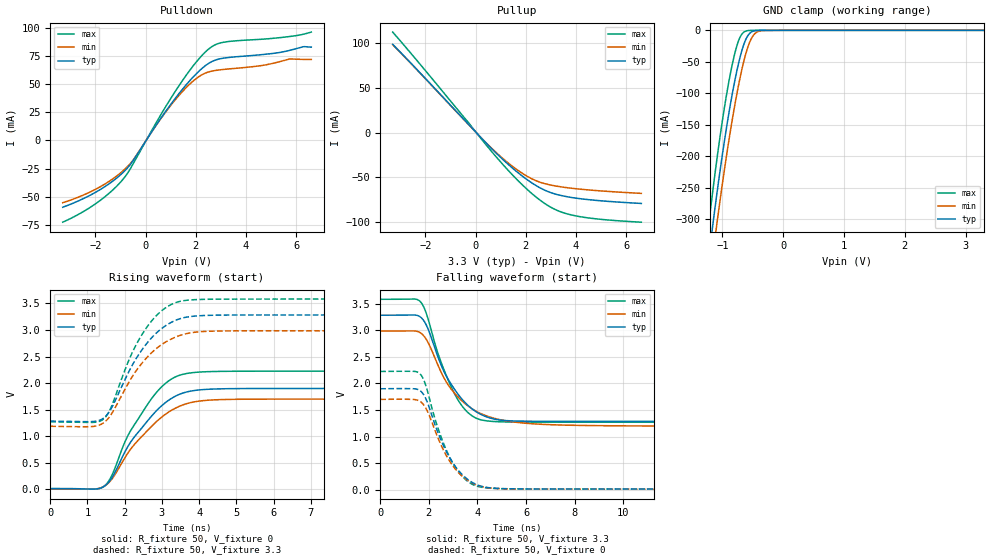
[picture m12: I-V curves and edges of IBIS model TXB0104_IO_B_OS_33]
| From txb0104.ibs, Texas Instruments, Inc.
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[Model]   TXB0104_IO_B_OS_33
Model_type  I/O
Vinl=1.05
Vinh=2.34
Enable   Active-High
Vref =   0
Rref =   1e6
Cref =   15p
Vmeas =   1.65
| variable   typ   min   max
C_comp   13.74pF   11.65pF   15.60pF
| C_pullup   13.91pF   11.07pF   16.69pF
| C_pulldown   14.06pF   12.85pF   15.19pF
| C_tri-state   13.74pF   11.65pF   15.60pF
[Temperature Range]   40   100   -40
| Ambient temperature   25   85   -40
[Voltage range]   3.3   3   3.6
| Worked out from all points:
|   slope of the pulldown table from 0 to 0.495 V, typ, clamps not added: 29.6 ohm
|   slope of the pullup table from 0 to 0.495 V, typ, clamps not added: 33.8 ohm
|   GND clamp passes 1 mA (typ) near -0.48 V on its own axis
|   rising waveform, R_fixture 50, V_fixture 0: 20-80 % time 1.12ns typ, 1.2ns min, 1.04ns max; typ from 0.014 V to 1.9 V
|   falling waveform, R_fixture 50, V_fixture 3.3: 20-80 % time 1.32ns typ, 1.58ns min, 1.12ns max; typ from 3.28 V to 1.29 V
|   rising waveform, R_fixture 50, V_fixture 3.3: 20-80 % time 1.01ns typ, 1.06ns min, 928ps max; typ from 1.29 V to 3.28 V
|   falling waveform, R_fixture 50, V_fixture 0: 20-80 % time 1.14ns typ, 1.12ns min, 1.06ns max; typ from 1.9 V to 0.014 V
[GND Clamp]
| TXB0104_IO_B_OS_33
|   Voltage   I(typ)   I(min)   I(max)
-3.3V     -2.536A    -2.502A    -2.637A
-1.225V   -360.2mA   -408.4mA   -307.5mA
-1.17V    -317.5mA   -365.7mA   -263.7mA
-1.145V   -298.6mA   -346.8mA   -244.5mA
-1.09V    -258.4mA   -306.2mA   -203.9mA
-940mV    -158.8mA   -203.6mA   -106.6mA
-825mV    -94.18mA   -134.4mA   -48.38mA
-725mV    -48.51mA   -82.38mA   -14.21mA
-625mV    -16.58mA   -40.55mA   -1.591mA
-490mV    -1.232mA   -7.795mA   -20.08uA
-330mV    -15.87uA   -305uA     -27.84nA
3.3V      878.4pA    172.7nA    92.37pA
[Pulldown]
| TXB0104_IO_B_OS_33
|   Voltage   I(typ)   I(min)   I(max)
-3.3V     -59.15mA   -55.13mA   -72.39mA
-1.955V   -45.44mA   -42.8mA    -55.5mA
-915mV    -28.72mA   -27.2mA    -34.81mA
-500mV    -17.98mA   -17.47mA   -20.85mA
575mV     18.57mA    18.3mA     21.55mA
1.345V    41.94mA    40.27mA    48.99mA
2.02V     59.07mA    54.88mA    69.51mA
2.56V     68.93mA    60.99mA    81.83mA
3.165V    73.1mA     63.04mA    87.22mA
4.66V     76.09mA    66.48mA    89.71mA
5.745V    79.85mA    72.15mA    92.09mA
6.6V      82.67mA    71.79mA    95.99mA
[Pullup]
| TXB0104_IO_B_OS_33
|   Voltage   I(typ)   I(min)   I(max)
-3.3V     98.76mA    98.26mA    112.4mA
-1.795V   54.47mA    54.14mA    62.46mA
130mV     -3.137mA   -3.184mA   -3.688mA
745mV     -20.89mA   -20.34mA   -24.68mA
1.245V    -34.17mA   -32.76mA   -40.62mA
1.71V     -45.35mA   -42.75mA   -54.3mA
2.135V    -54.31mA   -50.17mA   -65.61mA
2.525V    -61.18mA   -55.13mA   -74.7mA
3.17V     -68.74mA   -59.66mA   -86.06mA
3.865V    -72.8mA    -62.42mA   -92.45mA
4.9V      -76.1mA    -65.07mA   -96.81mA
6.6V      -79.29mA   -68.03mA   -100.3mA
[Ramp]
| TXB0104_IO_B_OS_33
| variable   typ   min   max
dV/dt_r   1.14/1.13E-09   1.02/1.20E-09   1.33/1.04E-09
dV/dt_f   1.20/1.32E-09   1.08/1.58E-09   1.39/1.12E-09
R_load = 50
[Rising Waveform]
| TXB0104_IO_B_OS_33
R_fixture =   50
C_fixture =   0
L_fixture =   0
V_fixture =   0
V_fixture_min = 0
V_fixture_max = 0
|   Time   V(typ)   V(min)   V(max)
0s        14.16mV    12.03mV    15.07mV
1.225ns   9.138mV    10.44mV    6.983mV
1.455ns   63.07mV    62.96mV    65.33mV
1.66ns    223.1mV    199.6mV    271.9mV
2.13ns    858.9mV    729.5mV    1.069V
2.815ns   1.453V     1.252V     1.793V
3.32ns    1.739V     1.514V     2.103V
3.93ns    1.867V     1.656V     2.205V
5.845ns   1.9V       1.7V       2.226V
39.9ns    1.901V     1.701V     2.226V
[Falling Waveform]
| TXB0104_IO_B_OS_33
R_fixture =   50
C_fixture =   0
L_fixture =   0
V_fixture =   3.3
V_fixture_min = 3
V_fixture_max = 3.6
|   Time   V(typ)   V(min)   V(max)
0s        3.284V     2.987V     3.583V
1.655ns   3.249V     2.951V     3.535V
1.95ns    3.043V     2.785V     3.241V
2.53ns    2.319V     2.189V     2.367V
3.12ns    1.849V     1.786V     1.753V
3.7ns     1.551V     1.548V     1.417V
4.385ns   1.371V     1.389V     1.296V
5.89ns    1.291V     1.256V     1.274V
8.67ns    1.287V     1.208V     1.272V
39.9ns    1.286V     1.191V     1.272V
[Rising Waveform]
| TXB0104_IO_B_OS_33
R_fixture =   50
C_fixture =   0
L_fixture =   0
V_fixture =   3.3
V_fixture_min = 3
V_fixture_max = 3.6
|   Time   V(typ)   V(min)   V(max)
0s        1.286V     1.19V      1.272V
1.1ns     1.277V     1.183V     1.262V
1.435ns   1.345V     1.255V     1.329V
1.64ns    1.526V     1.415V     1.554V
2.215ns   2.353V     2.135V     2.594V
2.62ns    2.771V     2.501V     3.078V
3.155ns   3.107V     2.796V     3.444V
3.755ns   3.253V     2.946V     3.567V
5.385ns   3.284V     2.986V     3.583V
39.9ns    3.284V     2.987V     3.583V
[Falling Waveform]
| TXB0104_IO_B_OS_33
R_fixture =   50
C_fixture =   0
L_fixture =   0
V_fixture =   0
V_fixture_min = 0
V_fixture_max = 0
|   Time   V(typ)   V(min)   V(max)
0s        1.901V     1.701V     2.226V
1.42ns    1.899V     1.697V     2.226V
1.64ns    1.863V     1.662V     2.178V
1.865ns   1.724V     1.544V     1.975V
2.235ns   1.25V      1.139V     1.361V
2.495ns   941.9mV    849.1mV    1.006V
2.975ns   516.2mV    459.9mV    511.2mV
3.59ns    198.7mV    179.7mV    163.1mV
4.3ns     51.63mV    48.47mV    39.19mV
39.9ns    14.16mV    12.03mV    15.07mV
